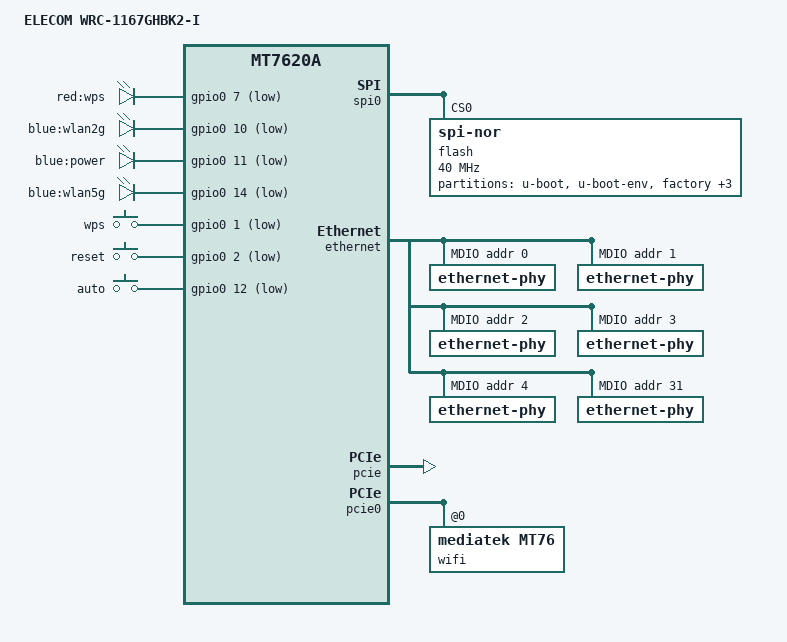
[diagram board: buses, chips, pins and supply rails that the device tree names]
// SPDX-License-Identifier: GPL-2.0-or-later OR MIT

#include "mt7620a.dtsi"

#include <dt-bindings/gpio/gpio.h>
#include <dt-bindings/input/input.h>
#include <dt-bindings/mtd/partitions/uimage.h>

/ {
	compatible = "elecom,wrc-1167ghbk2-i", "ralink,mt7620a-soc";
	model = "ELECOM WRC-1167GHBK2-I";

	aliases {
		led-boot = &led_power;
		led-failsafe = &led_power;
		led-running = &led_power;
		led-upgrade = &led_power;
	};

	leds {
		compatible = "gpio-leds";

		wps {
			label = "red:wps";
			gpios = <&gpio0 7 GPIO_ACTIVE_LOW>;
		};

		wlan2g {
			label = "blue:wlan2g";
			gpios = <&gpio0 10 GPIO_ACTIVE_LOW>;
			linux,default-trigger = "phy1radio";
		};

		led_power: power {
			label = "blue:power";
			gpios = <&gpio0 11 GPIO_ACTIVE_LOW>;
		};

		wlan5g {
			label = "blue:wlan5g";
			gpios = <&gpio0 14 GPIO_ACTIVE_LOW>;
			linux,default-trigger = "phy0radio";
		};
	};

	keys {
		compatible = "gpio-keys";

		wps {
			label = "wps";
			gpios = <&gpio0 1 GPIO_ACTIVE_LOW>;
			linux,code = <KEY_WPS_BUTTON>;
		};

		reset {
			label = "reset";
			gpios = <&gpio0 2 GPIO_ACTIVE_LOW>;
			linux,code = <KEY_RESTART>;
		};

		auto {
			label = "auto";
			gpios = <&gpio0 12 GPIO_ACTIVE_LOW>;
			linux,code = <BTN_0>;
			linux,input-type = <EV_SW>;
		};
	};
};

&spi0 {
	status = "okay";

	flash@0 {
		compatible = "jedec,spi-nor";
		reg = <0>;
		spi-max-frequency = <40000000>;

		partitions {
			compatible = "fixed-partitions";
			#address-cells = <1>;
			#size-cells = <1>;

			partition@0 {
				label = "u-boot";
				reg = <0x0 0x30000>;
				read-only;
			};

			partition@30000 {
				label = "u-boot-env";
				reg = <0x30000 0x10000>;
				read-only;
			};

			factory: partition@40000 {
				label = "factory";
				reg = <0x40000 0x10000>;
				read-only;
			};

			partition@50000 {
				label = "nvram";
				reg = <0x50000 0x20000>;
				read-only;
			};

			partition@70000 {
				compatible = "openwrt,uimage", "denx,uimage";
				openwrt,offset = <FW_EDIMAX_OFFSET>;
				openwrt,partition-magic = <FW_MAGIC_EDIMAX>;
				label = "firmware";
				reg = <0x70000 0x780000>;
			};

			partition@7f0000 {
				label = "hwconfig";
				reg = <0x7f0000 0x10000>;
				read-only;
			};
		};
	};
};

&ethernet {
	pinctrl-names = "default";
	pinctrl-0 = <&rgmii1_pins &mdio_pins>;

	port@5 {
		status = "okay";
		mediatek,fixed-link = <1000 1 1 1>;
		phy-mode = "rgmii";
	};

	mdio-bus {
		#address-cells = <1>;
		#size-cells = <0>;
		status = "okay";

		ethernet-phy@0 {
			reg = <0>;
			phy-mode = "rgmii";
		};

		ethernet-phy@1 {
			reg = <1>;
			phy-mode = "rgmii";
		};

		ethernet-phy@2 {
			reg = <2>;
			phy-mode = "rgmii";
		};

		ethernet-phy@3 {
			reg = <3>;
			phy-mode = "rgmii";
		};

		ethernet-phy@4 {
			reg = <4>;
			phy-mode = "rgmii";
		};

		ethernet-phy@1f {
			reg = <0x1f>;
			phy-mode = "rgmii";
		};
	};
};

&state_default {
	gpio {
		groups = "i2c", "uartf";
		function = "gpio";
	};
};

&pcie {
	status = "okay";
};

&pcie0 {
	wifi@0,0 {
		compatible = "mediatek,mt76";
		reg = <0x0000 0 0 0 0>;
		/* there is no MAC address, need to patch */
		mediatek,mtd-eeprom = <&factory 0x8000>;
		ieee80211-freq-limit = <5000000 6000000>;
	};
};
